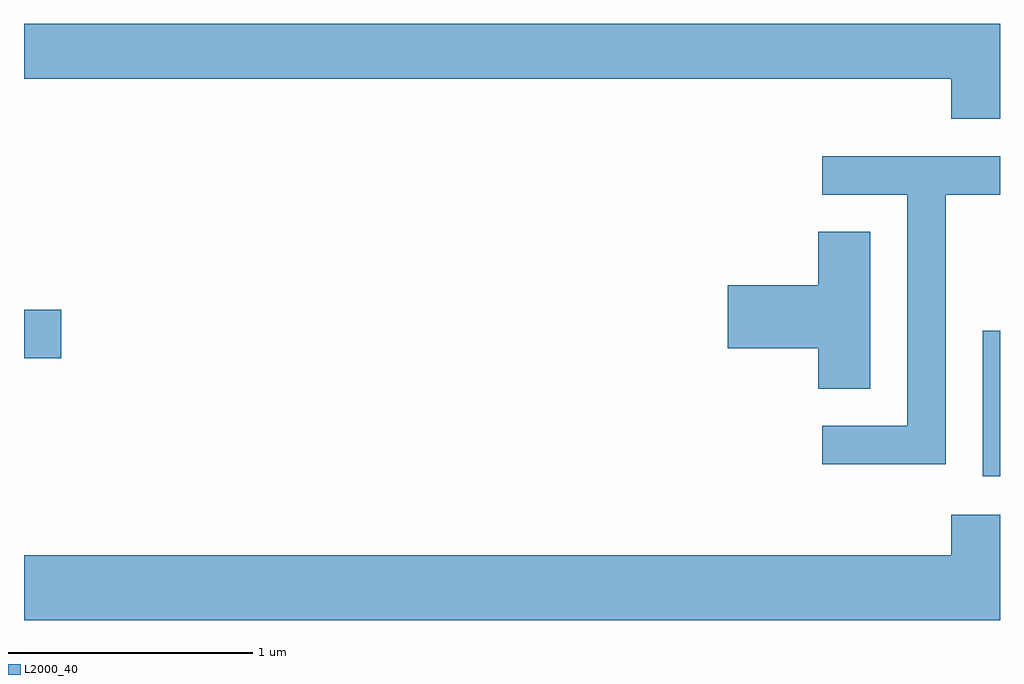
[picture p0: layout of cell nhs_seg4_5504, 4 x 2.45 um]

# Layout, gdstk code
import gdstk
lib = gdstk.Library(unit=1e-6, precision=1e-09)
def R(c, l, rs):  # rectangles x0, y0, x1, y1
    for r in rs: c.add(gdstk.rectangle(r[:2], r[2:], *l))
def P(c, l, *ps):  # polygons
    for p in ps: c.add(gdstk.Polygon(p, *l))
L2000_40 = (2000, 40)

nhs_seg4_5504 = lib.new_cell('nhs_seg4_5504')
R(nhs_seg4_5504, L2000_40, [(349.541,1384.126,349.611,1384.724), (345.611,1384.611,345.764,1384.809)])
P(nhs_seg4_5504, L2000_40, [(349.611,1385.982),(345.611,1385.982),(345.611,1385.756),(349.411,1385.756),(349.411,1385.591),(349.611,1385.591)],
  [(349.389,1385.281),(349.611,1385.281),(349.611,1385.439),(348.883,1385.439),(348.883,1385.281),(349.231,1385.281),(349.231,1384.334),(348.883,1384.334),(348.883,1384.176),(349.389,1384.176)],
  [(349.079,1385.129),(348.866,1385.129),(348.866,1384.909),(348.496,1384.909),(348.496,1384.651),(348.866,1384.651),(348.866,1384.486),(349.079,1384.486)],
  [(349.611,1383.969),(349.411,1383.969),(349.411,1383.804),(345.611,1383.804),(345.611,1383.536),(349.611,1383.536)])

lib.write_gds('nhs_seg4_5504.gds')
